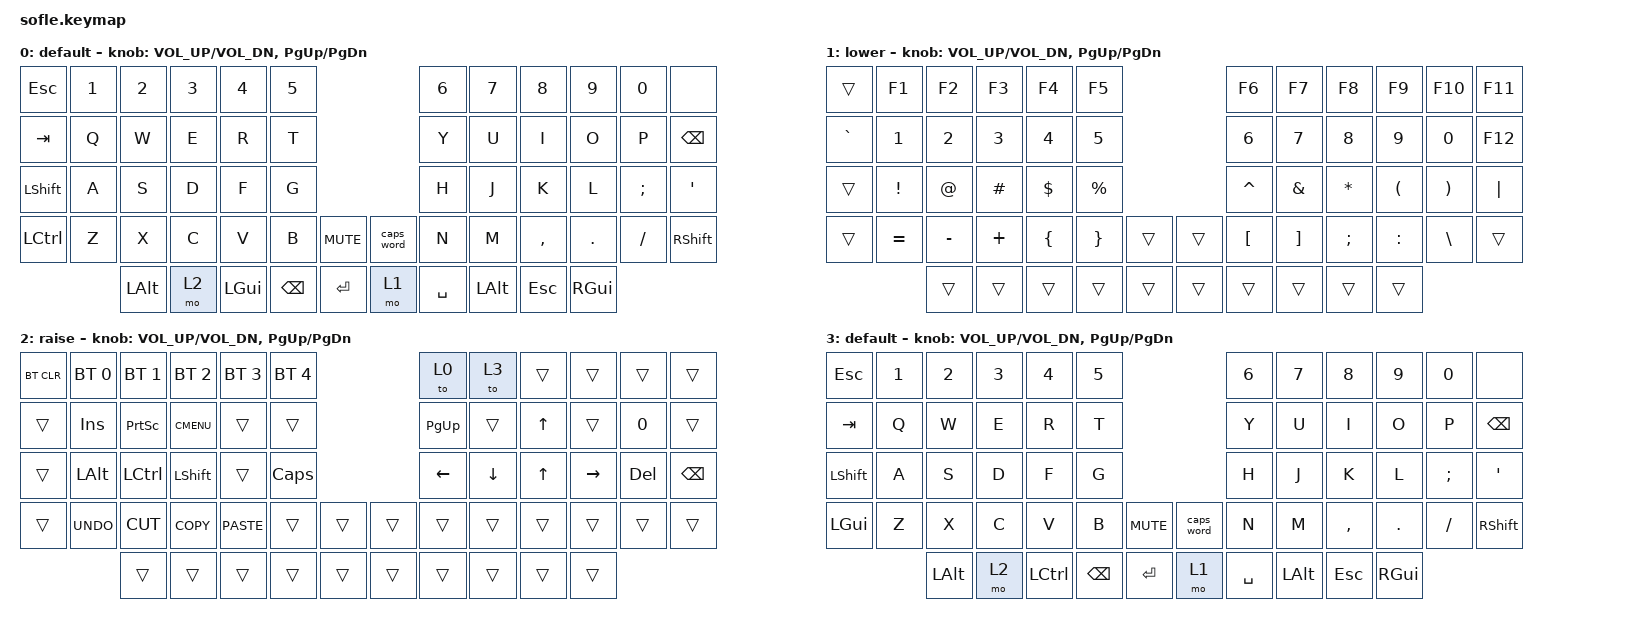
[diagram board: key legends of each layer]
/*
 * Copyright (c) 2020 The ZMK Contributors
 *
 * SPDX-License-Identifier: MIT
 */

#include <behaviors.dtsi>
#include <dt-bindings/zmk/bt.h>
#include <dt-bindings/zmk/keys.h>

#define BASE 0
#define LOWER 1
#define RAISE 2
#define ADJUST 3

/ {
    // Activate ADJUST layer by pressing raise and lower

    conditional_layers {
        compatible = "zmk,conditional-layers";

        adjust_layer {
            if-layers = <1 2>;
            then-layer = <3>;
        };
    };

    keymap {
        compatible = "zmk,keymap";

        default_layer {
            display-name = "default";

            // ------------------------------------------------------------------------------------------------------------
            // |   `   |  1  |  2  |  3   |  4   |  5   |                   |  6   |  7    |  8    |  9   |   0   |       |
            // |  ESC  |  Q  |  W  |  E   |  R   |  T   |                   |  Y   |  U    |  I    |  O   |   P   | BKSPC |
            // |  SHIFT |  A  |  S  |  D   |  F   |  G   |                   |  H   |  J    |  K    |  L   |   ;   |   '   |
            // |  TAB |  Z  |  X  |  C   |  V   |  B   |  MUTE  |  |       |  N   |  M    |  ,    |  .   |   /   | SHIFT |
            //               | GUI | ALT  | CTRL |  |  ENTER |  | SPACE | RAISE| CTRL  | ALT   | GUI  |

            bindings = <
&kp ESC           &kp N1  &kp N2        &kp N3  &kp N4    &kp N5                                   &kp N6     &kp N7        &kp N8      &kp N9    &kp N0    &none
&kp TAB           &kp Q   &kp W         &kp E   &kp R     &kp T                                    &kp Y      &kp U         &kp I       &kp O     &kp P     &kp BSPC
&kp LSHFT         &kp A   &kp S         &kp D   &kp F     &kp G                                    &kp H      &kp J         &kp K       &kp L     &kp SEMI  &kp SQT
&kp LEFT_CONTROL  &kp Z   &kp X         &kp C   &kp V     &kp B          &kp C_MUTE    &caps_word  &kp N      &kp M         &kp COMMA   &kp DOT   &kp FSLH  &kp RSHFT
                          &kp LEFT_ALT  &mo 2   &kp LGUI  &kp BACKSPACE  &kp RET       &mo 1       &kp SPACE  &kp LEFT_ALT  &kp ESCAPE  &kp RGUI
            >;

            sensor-bindings = <&inc_dec_kp C_VOL_UP C_VOL_DN &inc_dec_kp PG_UP PG_DN>;
        };

        lower_layer {
            display-name = "lower";

            // TODO: Some binds are waiting for shifted keycode support.
            // ------------------------------------------------------------------------------------------------------------
            // |       |  F1 |  F2 |  F3  |  F4  |  F5  |                   |  F6  |  F7   |  F8   |  F9  |  F10  |  F11  |
            // |   `   |  1  |  2  |  3   |  4   |  5   |                   |  6   |  7    |  8    |  9   |   0   |  F12  |
            // |       |  !  |  @  |  #   |  $   |  %   |                   |  ^   |  &    |  *    |  (   |   )   |   |   |
            // |       |  =  |  -  |  +   |  {   |  }   |        |  |       |  [   |  ]    |  ;    |  :   |   \   |       |
            //               |     |      |      |      |        |  |       |      |       |       |      |

            bindings = <
&trans     &kp F1     &kp F2     &kp F3    &kp F4    &kp F5                       &kp F6     &kp F7    &kp F8     &kp F9     &kp F10   &kp F11
&kp GRAVE  &kp N1     &kp N2     &kp N3    &kp N4    &kp N5                       &kp N6     &kp N7    &kp N8     &kp N9     &kp N0    &kp F12
&trans     &kp EXCL   &kp AT     &kp HASH  &kp DLLR  &kp PRCNT                    &kp CARET  &kp AMPS  &kp ASTRK  &kp LPAR   &kp RPAR  &kp PIPE
&trans     &kp EQUAL  &kp MINUS  &kp PLUS  &kp LBRC  &kp RBRC   &trans    &trans  &kp LBKT   &kp RBKT  &kp SEMI   &kp COLON  &kp BSLH  &trans
                      &trans     &trans    &trans    &trans     &trans    &trans  &trans     &trans    &trans     &trans
            >;

            sensor-bindings = <&inc_dec_kp C_VOL_UP C_VOL_DN &inc_dec_kp PG_UP PG_DN>;
        };

        raise_layer {
            display-name = "raise";

            // ------------------------------------------------------------------------------------------------------------
            // | BTCLR | BT1  | BT2  |  BT3  |  BT4  |  BT5 |                |      |      |       |      |       |       |
            // |       | INS  | PSCR | GUI   |       |      |                | PGUP |      |   ^   |      |       |       |
            // |       | ALT  | CTRL | SHIFT |       | CAPS |                | PGDN |   <- |   v   |  ->  |  DEL  | BKSPC |
            // |       | UNDO | CUT  | COPY  | PASTE |      |      |  |      |      |      |       |      |       |       |
            //                |      |       |       |      |      |  |      |      |      |       |      |

            bindings = <
&bt BT_CLR  &bt BT_SEL 0  &bt BT_SEL 1  &bt BT_SEL 2  &bt BT_SEL 3  &bt BT_SEL 4                    &to 0      &to 3     &trans        &trans     &trans   &trans
&trans      &kp INS       &kp PSCRN     &kp K_CMENU   &trans        &trans                          &kp PG_UP  &trans    &kp UP        &trans     &kp N0   &trans
&trans      &kp LALT      &kp LCTRL     &kp LSHFT     &trans        &kp CLCK                        &kp LEFT   &kp DOWN  &kp UP_ARROW  &kp RIGHT  &kp DEL  &kp BSPC
&trans      &kp K_UNDO    &kp K_CUT     &kp K_COPY    &kp K_PASTE   &trans        &trans    &trans  &trans     &trans    &trans        &trans     &trans   &trans
                          &trans        &trans        &trans        &trans        &trans    &trans  &trans     &trans    &trans        &trans
            >;

            sensor-bindings = <&inc_dec_kp C_VOL_UP C_VOL_DN &inc_dec_kp PG_UP PG_DN>;
        };

        layer_4 {
            display-name = "default";
            bindings = <
&kp ESC       &kp N1  &kp N2        &kp N3  &kp N4            &kp N5                                   &kp N6     &kp N7        &kp N8      &kp N9    &kp N0    &none
&kp TAB       &kp Q   &kp W         &kp E   &kp R             &kp T                                    &kp Y      &kp U         &kp I       &kp O     &kp P     &kp BSPC
&kp LSHFT     &kp A   &kp S         &kp D   &kp F             &kp G                                    &kp H      &kp J         &kp K       &kp L     &kp SEMI  &kp SQT
&kp LEFT_GUI  &kp Z   &kp X         &kp C   &kp V             &kp B          &kp K_MUTE    &caps_word  &kp N      &kp M         &kp COMMA   &kp DOT   &kp FSLH  &kp RSHFT
                      &kp LEFT_ALT  &mo 2   &kp LEFT_CONTROL  &kp BACKSPACE  &kp RET       &mo 1       &kp SPACE  &kp LEFT_ALT  &kp ESCAPE  &kp RGUI
            >;

            sensor-bindings =
                <&inc_dec_kp C_VOL_UP C_VOL_DN>,
                <&inc_dec_kp PG_UP PG_DN>;
        };
    };
};
